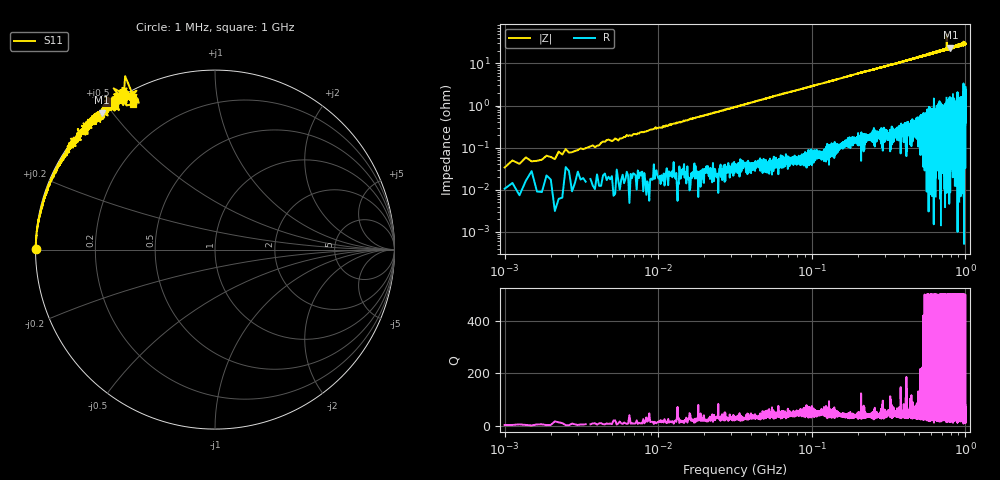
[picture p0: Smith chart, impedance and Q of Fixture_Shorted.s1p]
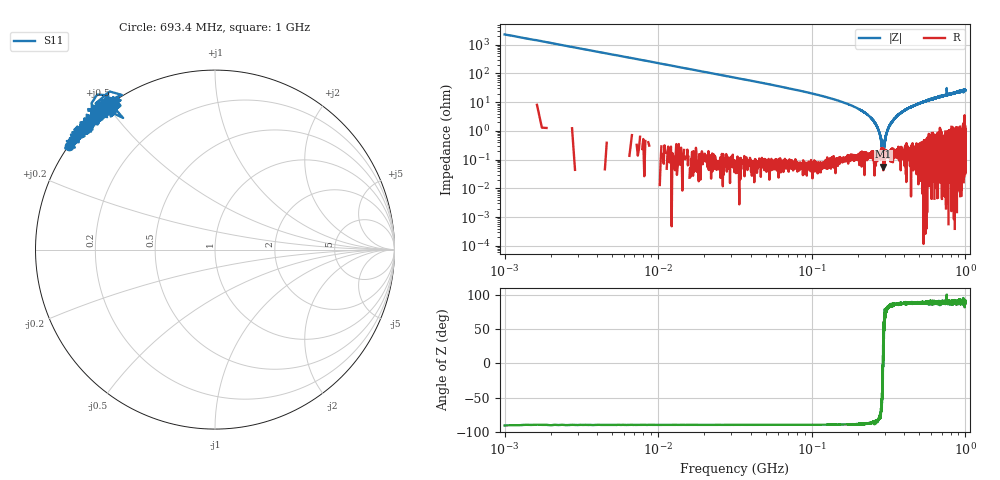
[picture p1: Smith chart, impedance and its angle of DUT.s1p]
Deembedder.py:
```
#!/usr/bin/python3

import skrf as rf
rf.stylely()

# load touchstone files
network_open = rf.Network('../Measurements/fixture/Fixture_Open.s1p')
network_short = rf.Network('../Measurements/fixture/Fixture_Shorted.s1p')
network_dut = rf.Network('../Measurements/original/DUT.s1p')

# create dummy files for deembedding (correct number of freqs, ...)
network_deembed_open = rf.Network('../Measurements/original/DUT.s1p')
network_deembed_short = rf.Network('../Measurements/original/DUT.s1p')
network_deembed_open_short = rf.Network('../Measurements/original/DUT.s1p')

# deembed with open and short
network_deembed_open.y = network_dut.y - network_open.y
network_deembed_short.z = network_dut.z - network_short.z
network_deembed_open_short.z = network_deembed_open.z - network_short.z

# plot results
network_dut.plot_s_smith()
network_deembed_open_short.plot_s_smith()

# write touchstone files
network_deembed_open.write_touchstone('../Measurements/deembed-oc/DUT_deembedded_open_python.s1p')
network_deembed_short.write_touchstone('../Measurements/deembed-sc/DUT_deembedded_shorted.s1p')
network_deembed_open_short.write_touchstone('../Measurements/deembed-both/DUT_deembedded_open-short.s1p')

# wait for user, otherwise plot figures get closed
input()
```
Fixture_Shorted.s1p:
! ListType=Lin
# MHz S RI R 50
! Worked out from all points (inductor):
!   8001 points, 1 MHz to 1 GHz, reference 50 ohm
!   read as one part to ground: L = 4.67 nH near 5.995 MHz
!   highest Q = 149 at 798.3 MHz (marker M1), where L = 4.7 nH
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1  -0.9996 0.00129
141.9839  -0.9833 0.1612
334.0416  -0.923 0.3622
556.0694  -0.8119 0.5705
667.0833  -0.7332 0.6644
750.8744  -0.6828 0.7399
760.3649  -0.671 0.726
798.3269  -0.6297 0.7627
873.3768  -0.5911 0.7975
888.4866  -0.5689 0.792
906.3438  -0.5819 0.8093
968.1569  -0.5028 0.8225
977.8971  -0.5117 0.8616
1000  -0.4564 0.8119
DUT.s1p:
! ListType=Lin
# MHz S RI R 50
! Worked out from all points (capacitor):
!   8001 points, 1 MHz to 1 GHz, reference 50 ohm
!   read as one part to ground: C = 69.3 pF near 5.995 MHz
!   lowest |Z| = 57.2 mohm at 292 MHz (marker M1)
!   series resonance near 290.2 MHz, so ESL is about 4.3 nH
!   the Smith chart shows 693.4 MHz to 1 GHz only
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1  0.9997 -0.044
9.74125  0.9139 -0.4062
20.10588  0.6752 -0.7362
27.72325  0.4582 -0.8869
35.84013  0.2286 -0.9724
49.32662  -0.0995 -0.9937
62.81312  -0.3466 -0.937
95.53038  -0.6886 -0.7211
125.1257  -0.835 -0.5458
164.5863  -0.9282 -0.3609
291.9588  -0.9983 0.00152
334.0416  -0.9909 0.0853
667.0833  -0.8193 0.533
1000  -0.5772 0.8056
